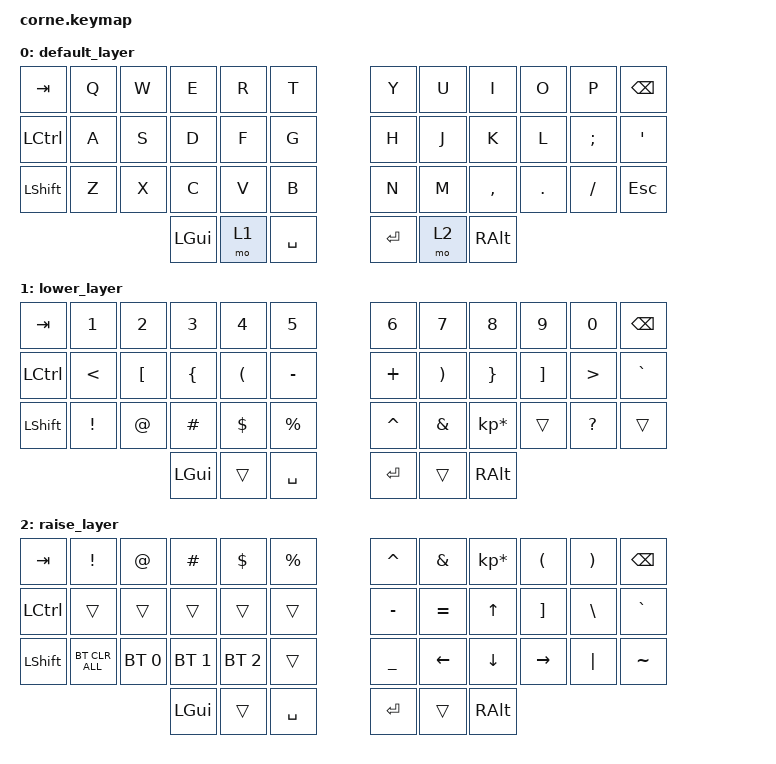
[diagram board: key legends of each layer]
/*
 * Copyright (c) 2020 The ZMK Contributors
 *
 * SPDX-License-Identifier: MIT
 */

#include <behaviors.dtsi>
#include <dt-bindings/zmk/keys.h>
#include <dt-bindings/zmk/bt.h>

/ {
        keymap {
                compatible = "zmk,keymap";

                default_layer {
// -----------------------------------------------------------------------------------------
// |  TAB |  Q  |  W  |  E  |  R  |  T  |   |  Y  |  U   |  I  |  O  |  P  | BKSP |
// | CTRL |  A  |  S  |  D  |  F  |  G  |   |  H  |  J   |  K  |  L  |  ;  |  '   |
// | SHFT |  Z  |  X  |  C  |  V  |  B  |   |  N  |  M   |  ,  |  .  |  /  | ESC  |
//                    | GUI | LWR | SPC |   | ENT | RSE  | ALT |
                        bindings = <
   &kp TAB   &kp Q &kp W &kp E &kp R &kp T   &kp Y &kp U  &kp I     &kp O   &kp P    &kp BSPC
   &kp LCTRL &kp A &kp S &kp D &kp F &kp G   &kp H &kp J  &kp K     &kp L   &kp SEMI &kp SQT
   &kp LSHFT &kp Z &kp X &kp C &kp V &kp B   &kp N &kp M  &kp COMMA &kp DOT &kp FSLH &kp ESC
                  &kp LGUI &mo 1 &kp SPACE   &kp RET &mo 2 &kp RALT
                        >;
                };
                lower_layer {
// -----------------------------------------------------------------------------------------
// |  TAB |  1  |  2  |  3  |  4  |  5  |   |  6  |  7  |  8  |  9  |  0  | BKSP |
// | CTRL |  <  |  [  |  {  |  (  |  - _|   |  + =|  )  |  }  |  ]  |  >  |   `  |
// | SHFT |  !  |  @  |  #  |  $  |  %  |   |  ^  |  &  |  *  |     |  ?  |      |
//                    | GUI |     | SPC |   | ENT |     | ALT |
                        bindings = <
   &kp TAB    &kp N1       &kp N2       &kp N3       &kp N4       &kp N5         &kp N6   &kp N7   &kp N8 &kp N9    &kp N0 &kp BSPC
   &kp LCTRL &kp LT &kp LBKT   &kp LBRC &kp LPAR  &kp MINUS   &kp PLUS &kp RPAR &kp RBRC &kp RBKT  &kp GT &kp GRAVE
   &kp LSHFT  &kp EXCL   &kp AT  &kp HASH    &kp DLLR   &kp PRCNT  &kp CARET &kp AMPS &kp KP_MULTIPLY &trans    &kp QUESTION &trans
                          	        &kp LGUI     &trans       &kp SPACE      &kp RET  &trans   &kp RALT
                        >;
                };

                raise_layer {
// -----------------------------------------------------------------------------------------
// |  TAB |  !  |  @  |  #  |  $  |  %  |   |  ^  |  &  |  *  |  (  |  )  | BKSP |
// | CTRL |     |     |     |     |     |   |  -  |  =  |  UP |  ]  |  \  |  `   |
// | SHFT |BTCLR| BT1 | BT2 | BT3 |     |   |  _  |LEFT |DOWN |RIGHT| "|" |  ~   |
//                    | GUI |     | SPC |   | ENT |     | ALT |
                        bindings = <
   &kp  TAB  &kp EXCL &kp AT &kp HASH &kp DLLR &kp PRCNT   &kp CARET &kp AMPS  &kp KP_MULTIPLY &kp LPAR &kp RPAR &kp BSPC
   &kp LCTRL &trans   &trans &trans   &trans   &trans      &kp MINUS &kp EQUAL &kp UP &kp RBKT &kp BSLH &kp GRAVE
   &kp LSHFT &bt BT_CLR_ALL &bt BT_SEL 0 &bt BT_SEL 1 &bt BT_SEL 2  &trans  &kp UNDER &kp LEFT  &kp DOWN &kp RIGHT &kp PIPE &kp TILDE
                    	     &kp LGUI &trans   &kp SPACE   &kp RET   &trans    &kp RALT
                        >;
                };
        };
};
